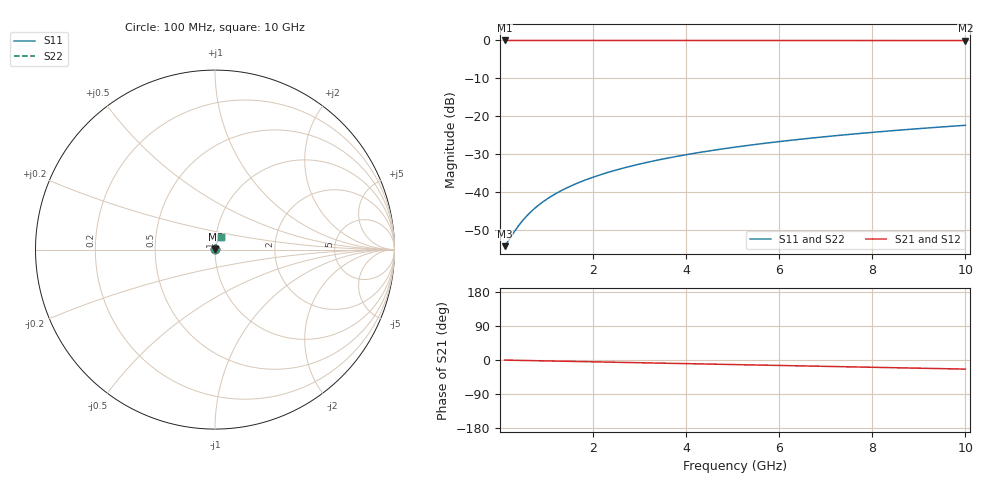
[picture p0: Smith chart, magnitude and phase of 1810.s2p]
# Hz S RI R 50.00
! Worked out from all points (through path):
!   100 points, 100 MHz to 10 GHz, reference 50 ohm
!   highest |S21| = -0.02 dB at 100 MHz (marker M1); lowest = 0.0 dB at 10 GHz (marker M2)
!   group delay of S21, straight-line fit = 6.68 ps
!   lowest |S11| = -54.3 dB at 100 MHz (marker M3), VSWR 1.00, Z = 50.2 + j0.0772 ohm
!   |S11| at or under -10 dB: start of sweep to end of sweep
!   |S22| runs from -54.3 to -22.4 dB; largest |S21 - S12| = 0
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1e8  0.00176 0.00077  0.9982 -0.00416  0.9982 -0.00416  0.00176 0.00077
2e8  0.00178 0.00154  0.9982 -0.00833  0.9982 -0.00833  0.00178 0.00154
3e8  0.0018 0.00231  0.9981 -0.0125  0.9981 -0.0125  0.0018 0.00231
4e8  0.00183 0.00308  0.9981 -0.0167  0.9981 -0.0167  0.00183 0.00308
5e8  0.00186 0.00385  0.998 -0.0208  0.998 -0.0208  0.00186 0.00385
6e8  0.0019 0.00461  0.9979 -0.025  0.9979 -0.025  0.0019 0.00461
7e8  0.00195 0.00538  0.9977 -0.0291  0.9977 -0.0291  0.00195 0.00538
8e8  0.002 0.00615  0.9976 -0.0333  0.9976 -0.0333  0.002 0.00615
1e9  0.00212 0.00768  0.9973 -0.0416  0.9973 -0.0416  0.00212 0.00768
1.2e9  0.00227 0.00921  0.9969 -0.05  0.9969 -0.05  0.00227 0.00921
1.5e9  0.00253 0.0115  0.9961 -0.0624  0.9961 -0.0624  0.00253 0.0115
1.8e9  0.00285 0.0138  0.9952 -0.0749  0.9952 -0.0749  0.00285 0.0138
2.1e9  0.00323 0.0161  0.9942 -0.0874  0.9942 -0.0874  0.00323 0.0161
2.5e9  0.00382 0.0191  0.9925 -0.104  0.9925 -0.104  0.00382 0.0191
2.9e9  0.00451 0.0221  0.9905 -0.1205  0.9905 -0.1205  0.00451 0.0221
3.4e9  0.00552 0.0258  0.9877 -0.1412  0.9877 -0.1412  0.00552 0.0258
4.2e9  0.00745 0.0316  0.9822 -0.1742  0.9822 -0.1742  0.00745 0.0316
5.1e9  0.0101 0.038  0.9747 -0.211  0.9747 -0.211  0.0101 0.038
5.9e9  0.0128 0.0435  0.9667 -0.2435  0.9667 -0.2435  0.0128 0.0435
6.7e9  0.0159 0.0488  0.9577 -0.2758  0.9577 -0.2758  0.0159 0.0488
8.4e9  0.0237 0.0594  0.9348 -0.3433  0.9348 -0.3433  0.0237 0.0594
1e10  0.0324 0.0684  0.9087 -0.4052  0.9087 -0.4052  0.0324 0.0684
